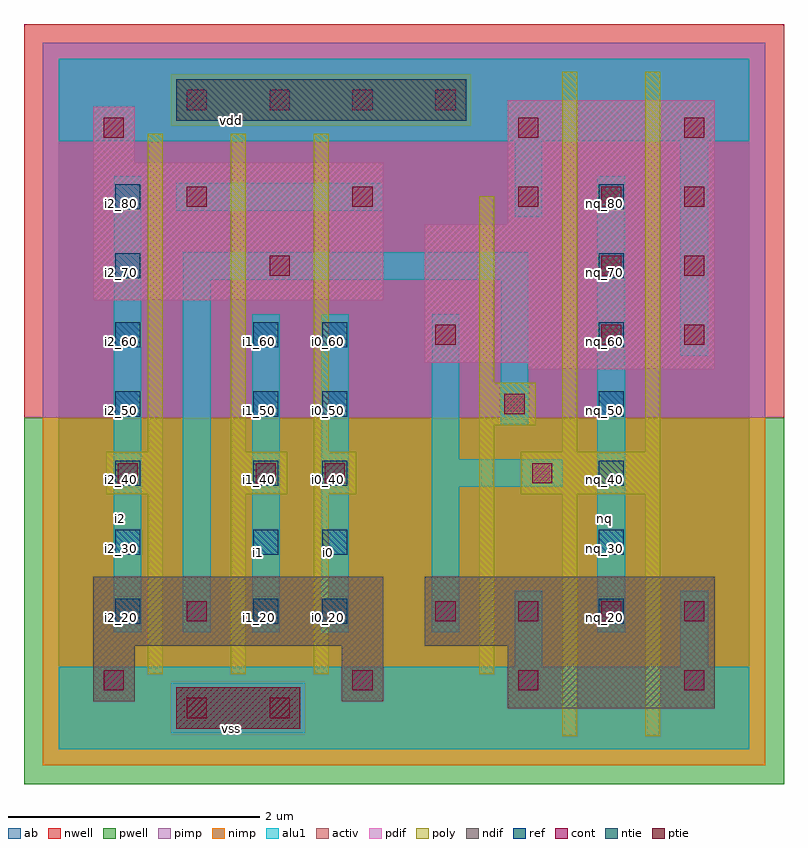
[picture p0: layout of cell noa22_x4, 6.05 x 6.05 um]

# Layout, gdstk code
import gdstk
lib = gdstk.Library(unit=1e-6, precision=2.5e-09)
def R(c, l, rs):  # rectangles x0, y0, x1, y1
    for r in rs: c.add(gdstk.rectangle(r[:2], r[2:], *l))
def A(c, l, x, y, w, h, nx, ny, dx, dy):  # array of equal rectangles
    R(c, l, [(x+i*dx, y+j*dy, x+i*dx+w, y+j*dy+h) for i in range(nx) for j in range(ny)])
ndif = (3, 0)
pdif = (4, 0)
ntie = (5, 0)
ptie = (6, 0)
ref = (24, 0)
cont = (25, 0)
pwell = (41, 0)
nwell = (42, 0)
activ = (43, 0)
pimp = (44, 0)
nimp = (45, 0)
poly = (46, 0)
alu1 = (49, 0)
ab = (63, 0)

noa22_x4 = lib.new_cell('noa22_x4')
R(noa22_x4, ndif, [(3.575,0.33,5.225,0.825), (0.275,0.385,0.605,0.825), (2.255,0.385,2.585,0.825), (0.275,0.825,2.585,1.375), (2.915,0.825,5.225,1.375)])
R(noa22_x4, pdif, [(3.74,3.025,5.225,3.08), (2.915,3.08,5.225,4.18), (0.275,3.575,2.585,4.675), (3.575,4.18,5.225,5.17), (0.275,4.675,0.605,5.115)])
R(noa22_x4, ntie, [(0.935,5.005,3.245,5.335)])
R(noa22_x4, ptie, [(0.935,0.165,1.925,0.495)])
A(noa22_x4, ref, 0.45, 1, 0.2, 0.2, 1, 7, 0, 0.55)
A(noa22_x4, ref, 1.55, 1, 0.2, 0.2, 1, 5, 0, 0.55)
A(noa22_x4, ref, 2.1, 1, 0.2, 0.2, 1, 5, 0, 0.55)
A(noa22_x4, ref, 4.3, 1, 0.2, 0.2, 1, 7, 0, 0.55)
A(noa22_x4, cont, 2.34, 0.47, 0.16, 0.16, 3, 1, 1.32, 0)
A(noa22_x4, cont, 3, 1.02, 0.16, 0.16, 4, 1, 0.66, 0)
A(noa22_x4, cont, 4.32, 3.22, 0.16, 0.16, 1, 3, 0, 0.55)
A(noa22_x4, cont, 4.98, 3.22, 0.16, 0.16, 1, 4, 0, 0.55)
A(noa22_x4, cont, 1.02, 4.32, 0.16, 0.16, 3, 1, 1.32, 0)
A(noa22_x4, cont, 1.02, 5.09, 0.16, 0.16, 4, 1, 0.66, 0)
R(noa22_x4, cont, [(1.02,0.25,1.18,0.41), (1.68,0.25,1.84,0.41), (0.36,0.47,0.52,0.63), (1.02,1.02,1.18,1.18), (0.47,2.12,0.63,2.28), (1.57,2.12,1.73,2.28), (2.12,2.12,2.28,2.28), (3.77,2.12,3.93,2.28), (3.55,2.67,3.71,2.83), (3,3.22,3.16,3.38), (1.68,3.77,1.84,3.93), (0.36,4.87,0.52,5.03), (3.66,4.87,3.82,5.03)])
R(noa22_x4, pwell, [(-0.275,-0.275,5.775,2.64)])
R(noa22_x4, nwell, [(-0.275,2.64,5.775,5.775)])
R(noa22_x4, activ, [(0.935,0.165,1.925,0.495), (3.575,0.33,5.225,0.825), (0.275,0.385,0.605,0.825), (2.255,0.385,2.585,0.825), (0.275,0.825,2.585,1.375), (2.915,0.825,5.225,1.375), (3.74,3.025,5.225,3.08), (2.915,3.08,5.225,4.18), (0.275,3.575,2.585,4.675), (3.575,4.18,5.225,5.17), (0.275,4.675,0.605,5.115), (0.935,5.005,3.245,5.335)])
R(noa22_x4, pimp, [(0.895,0.125,1.965,0.535), (-0.125,2.64,5.625,4.965), (-0.125,4.965,0.895,5.375), (3.285,4.965,5.625,5.375), (-0.125,5.375,5.625,5.625)])
R(noa22_x4, nimp, [(-0.125,-0.125,5.625,0.125), (-0.125,0.125,0.895,0.535), (1.965,0.125,5.625,0.535), (-0.125,0.535,5.625,2.64), (0.895,4.965,3.285,5.375)])
A(noa22_x4, poly, 0.71, 0.6, 0.12, 1.43, 3, 1, 0.66, 0)
A(noa22_x4, poly, 0.71, 2.37, 0.12, 2.53, 3, 1, 0.66, 0)
R(noa22_x4, poly, [(4.01,0.105,4.13,2.03), (4.67,0.105,4.79,2.03), (3.35,0.6,3.47,2.58), (0.38,2.03,0.83,2.37), (1.37,2.03,1.82,2.37), (2.03,2.03,2.37,2.37), (3.68,2.03,4.79,2.37), (4.01,2.37,4.13,5.395), (4.67,2.37,4.79,5.395), (3.35,2.58,3.8,2.92), (3.35,2.92,3.47,4.405)])
R(noa22_x4, alu1, [(0,0,5.5,0.66), (3.63,0.66,3.85,1.265), (4.95,0.66,5.17,1.265), (0.44,0.935,0.66,4.565), (0.99,0.935,1.21,3.74), (1.54,0.935,1.76,3.465), (2.09,0.935,2.31,3.465), (2.97,0.935,3.19,2.09), (4.29,0.935,4.51,4.565), (2.97,2.09,4.015,2.31), (2.97,2.31,3.19,3.465), (3.52,2.585,3.74,3.74), (4.95,3.135,5.17,4.84), (0.99,3.74,3.74,3.96), (3.63,4.235,3.85,4.84), (0.935,4.29,2.585,4.51), (0,4.84,5.5,5.5)])
R(noa22_x4, ab, [(0,0,5.5,5.5)])
noa22_x4.add(gdstk.Label('vss', (1.375,0.165), layer=49, texttype=0))
noa22_x4.add(gdstk.Label('nq', (4.345,1.8425), layer=49, texttype=0))
noa22_x4.add(gdstk.Label('i0', (2.145,1.5675), layer=49, texttype=0))
noa22_x4.add(gdstk.Label('i1', (1.595,1.5675), layer=49, texttype=0))
noa22_x4.add(gdstk.Label('i2', (0.495,1.8425), layer=49, texttype=0))
noa22_x4.add(gdstk.Label('vdd', (1.375,5.005), layer=49, texttype=0))
noa22_x4.add(gdstk.Label('i0_30', (2.15,1.6), layer=24, texttype=0))
noa22_x4.add(gdstk.Label('i0_20', (2.15,1.05), layer=24, texttype=0))
noa22_x4.add(gdstk.Label('nq_80', (4.35,4.35), layer=24, texttype=0))
noa22_x4.add(gdstk.Label('i1_20', (1.6,1.05), layer=24, texttype=0))
noa22_x4.add(gdstk.Label('i1_30', (1.6,1.6), layer=24, texttype=0))
noa22_x4.add(gdstk.Label('i1_40', (1.6,2.15), layer=24, texttype=0))
noa22_x4.add(gdstk.Label('i1_50', (1.6,2.7), layer=24, texttype=0))
noa22_x4.add(gdstk.Label('i1_60', (1.6,3.25), layer=24, texttype=0))
noa22_x4.add(gdstk.Label('i0_60', (2.15,3.25), layer=24, texttype=0))
noa22_x4.add(gdstk.Label('i0_50', (2.15,2.7), layer=24, texttype=0))
noa22_x4.add(gdstk.Label('i0_40', (2.15,2.15), layer=24, texttype=0))
noa22_x4.add(gdstk.Label('i2_60', (0.5,3.25), layer=24, texttype=0))
noa22_x4.add(gdstk.Label('i2_50', (0.5,2.7), layer=24, texttype=0))
noa22_x4.add(gdstk.Label('i2_40', (0.5,2.15), layer=24, texttype=0))
noa22_x4.add(gdstk.Label('i2_30', (0.5,1.6), layer=24, texttype=0))
noa22_x4.add(gdstk.Label('i2_20', (0.5,1.05), layer=24, texttype=0))
noa22_x4.add(gdstk.Label('nq_50', (4.35,2.7), layer=24, texttype=0))
noa22_x4.add(gdstk.Label('nq_30', (4.35,1.6), layer=24, texttype=0))
noa22_x4.add(gdstk.Label('nq_20', (4.35,1.05), layer=24, texttype=0))
noa22_x4.add(gdstk.Label('nq_40', (4.35,2.15), layer=24, texttype=0))
noa22_x4.add(gdstk.Label('nq_60', (4.35,3.25), layer=24, texttype=0))
noa22_x4.add(gdstk.Label('nq_70', (4.35,3.8), layer=24, texttype=0))
noa22_x4.add(gdstk.Label('i2_70', (0.5,3.8), layer=24, texttype=0))
noa22_x4.add(gdstk.Label('i2_80', (0.5,4.35), layer=24, texttype=0))

lib.write_gds('noa22_x4.gds')
